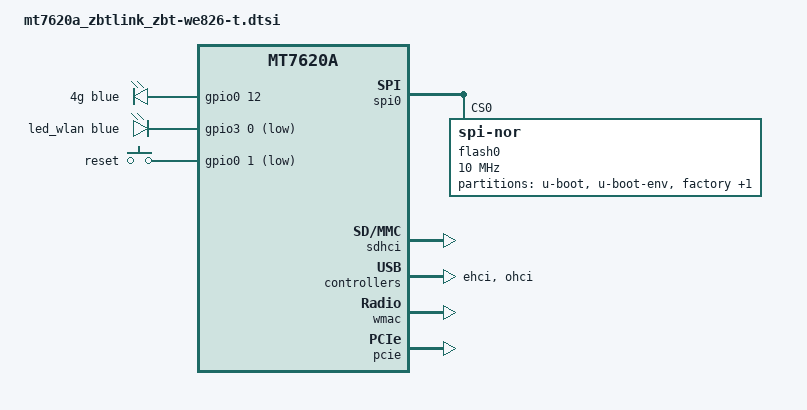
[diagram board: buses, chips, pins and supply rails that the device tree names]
#include "mt7620a.dtsi"

#include <dt-bindings/gpio/gpio.h>
#include <dt-bindings/input/input.h>
#include <dt-bindings/leds/common.h>

/ {
	compatible = "zbtlink,zbt-we826-t", "ralink,mt7620a-soc";

	aliases {
		led-boot = &led_wlan;
		led-failsafe = &led_wlan;
		led-running = &led_wlan;
		led-upgrade = &led_wlan;
	};

	chosen {
		bootargs = "console=ttyS0,115200";
	};

	leds {
		compatible = "gpio-leds";

		4g {
			function = "4g";
			color = <LED_COLOR_ID_BLUE>;
			gpios = <&gpio0 12 GPIO_ACTIVE_HIGH>;
		};

		led_wlan: wlan {
			function = LED_FUNCTION_WLAN;
			color = <LED_COLOR_ID_BLUE>;
			gpios = <&gpio3 0 GPIO_ACTIVE_LOW>;
			linux,default-trigger = "phy0tpt";
		};
	};

	keys {
		compatible = "gpio-keys";

		reset {
			label = "reset";
			gpios = <&gpio0 1 GPIO_ACTIVE_LOW>;
			linux,code = <KEY_RESTART>;
		};
	};
};

&spi0 {
	status = "okay";

	flash0: flash@0 {
		compatible = "jedec,spi-nor";
		reg = <0>;
		spi-max-frequency = <10000000>;

		partitions {
			compatible = "fixed-partitions";
			#address-cells = <1>;
			#size-cells = <1>;

			partition@0 {
				label = "u-boot";
				reg = <0x0 0x30000>;
				read-only;
			};

			partition@30000 {
				label = "u-boot-env";
				reg = <0x30000 0x10000>;
				read-only;
			};

			partition@40000 {
				label = "factory";
				reg = <0x40000 0x10000>;
				read-only;

				nvmem-layout {
					compatible = "fixed-layout";
					#address-cells = <1>;
					#size-cells = <1>;

					eeprom_factory_0: eeprom@0 {
						reg = <0x0 0x200>;
					};

					macaddr_factory_28: macaddr@28 {
						reg = <0x28 0x6>;
					};
				};
			};

			firmware: partition@50000 {
				compatible = "denx,uimage";
				label = "firmware";
				/* reg property is set based on flash size in DTS files */
			};
		};
	};
};

&gpio1 {
	status = "okay";
};

&gpio3 {
	status = "okay";
};

&sdhci {
	status = "okay";
};

&ehci {
	status = "okay";
};

&ohci {
	status = "okay";
};

&ethernet {
	nvmem-cells = <&macaddr_factory_28>;
	nvmem-cell-names = "mac-address";

	mediatek,portmap = "llllw";
};

&wmac {
	nvmem-cells = <&eeprom_factory_0>;
	nvmem-cell-names = "eeprom";
};

&state_default {
	default {
		groups = "i2c", "uartf", "wled", "spi refclk", "pa";
		function = "gpio";
	};
};

&pcie {
	status = "okay";
};
